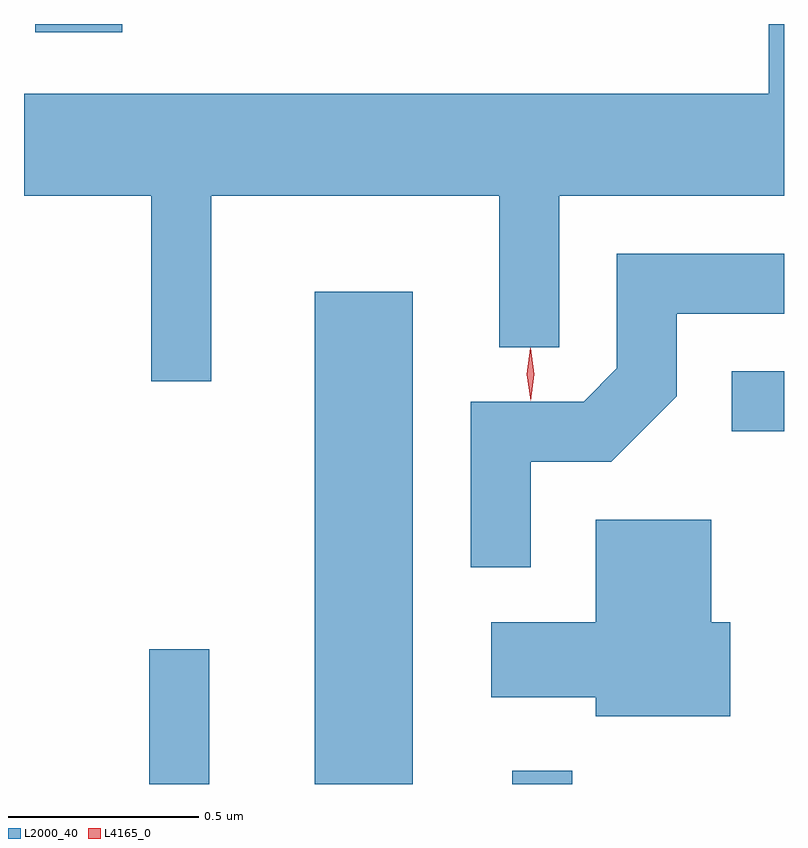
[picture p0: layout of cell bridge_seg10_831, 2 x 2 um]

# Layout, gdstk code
import gdstk
lib = gdstk.Library(unit=1e-6, precision=1e-09)
def R(c, l, rs):  # rectangles x0, y0, x1, y1
    for r in rs: c.add(gdstk.rectangle(r[:2], r[2:], *l))
def P(c, l, *ps):  # polygons
    for p in ps: c.add(gdstk.Polygon(p, *l))
L2000_40 = (2000, 40)
L4165_0 = (4165, 0)

bridge_seg10_831 = lib.new_cell('bridge_seg10_831')
R(bridge_seg10_831, L2000_40, [(503.401,2127.908,503.559,2128.263), (503.836,2127.908,504.094,2129.204), (504.356,2127.908,504.514,2127.943), (504.933,2128.836,505.071,2128.994), (503.101,2129.886,503.329,2129.908)])
P(bridge_seg10_831, L2000_40, [(503.564,2129.456),(504.321,2129.456),(504.321,2129.058),(504.479,2129.058),(504.479,2129.456),(505.071,2129.456),(505.071,2129.908),(505.031,2129.908),(505.031,2129.724),(503.071,2129.724),(503.071,2129.456),(503.406,2129.456),(503.406,2128.968),(503.564,2128.968)],
  [(504.404,2128.756),(504.617,2128.756),(504.789,2128.929),(504.789,2129.146),(505.071,2129.146),(505.071,2129.304),(504.631,2129.304),(504.631,2129.002),(504.544,2128.914),(504.246,2128.914),(504.246,2128.478),(504.404,2128.478)],
  [(504.929,2128.334),(504.879,2128.334),(504.879,2128.604),(504.576,2128.604),(504.576,2128.334),(504.301,2128.334),(504.301,2128.136),(504.576,2128.136),(504.576,2128.086),(504.929,2128.086)])
P(bridge_seg10_831, L4165_0, [(504.404,2128.917),(504.394,2128.986),(504.403,2129.055),(504.403,2129.056),(504.404,2129.055),(504.414,2128.986),(504.405,2128.917),(504.405,2128.917)],
  [(504.405,2128.919),(504.404,2128.92),(504.394,2128.986),(504.403,2129.052),(504.403,2129.052),(504.404,2129.052),(504.414,2128.986),(504.405,2128.92)])

lib.write_gds('bridge_seg10_831.gds')
